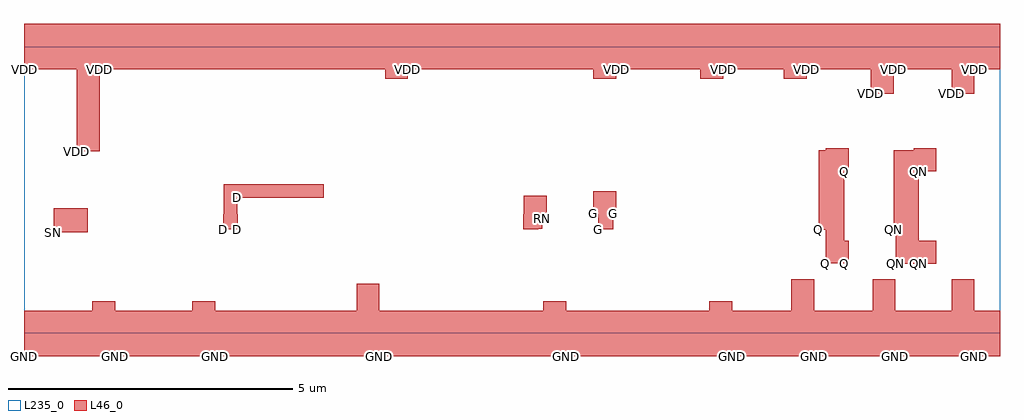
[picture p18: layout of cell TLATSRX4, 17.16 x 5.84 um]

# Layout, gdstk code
import gdstk
lib = gdstk.Library(unit=1e-6, precision=1e-09)
def R(c, l, rs):  # rectangles x0, y0, x1, y1
    for r in rs: c.add(gdstk.rectangle(r[:2], r[2:], *l))
L46_0 = (46, 0)
L235_0 = (235, 0)

tlatsrx4 = lib.new_cell('TLATSRX4')
R(tlatsrx4, L46_0, [(0,-0.4,1.2,0.4), (1.2,-0.4,1.6,0.56), (1.6,-0.4,2.96,0.4), (2.96,-0.4,3.36,0.56), (3.36,-0.4,5.85,0.4), (5.85,-0.4,6.25,0.87), (6.25,-0.4,9.13,0.4), (9.13,-0.4,9.53,0.56), (9.53,-0.4,12.05,0.4), (12.05,-0.4,12.45,0.56), (12.45,-0.4,13.49,0.4), (13.49,-0.4,13.89,0.95), (13.89,-0.4,14.92,0.4), (14.92,-0.4,15.32,0.95), (15.32,-0.4,16.31,0.4), (16.31,-0.4,16.71,0.95), (16.71,-0.4,17.16,0.4), (15.33,1.22,15.64,3.22), (15.64,1.22,15.73,3.25), (15.73,1.22,16.04,1.63), (14.1,1.23,14.42,3.25), (14.42,1.23,14.5,1.63), (0.52,1.78,1.12,2.2), (13.97,1.82,14.1,3.22), (15.29,1.82,15.33,3.22), (3.5,1.83,3.51,2.09), (3.51,1.83,3.75,2.62), (3.75,1.83,3.76,2.09), (8.78,1.83,8.79,2.09), (8.79,1.83,9.04,2.42), (10.1,1.83,10.36,2.5), (9.04,1.84,9.11,2.42), (9.11,2.02,9.19,2.42), (10.01,2.1,10.1,2.5), (10.36,2.1,10.41,2.5), (3.75,2.38,5.27,2.62), (14.42,2.85,14.5,3.25), (15.73,2.85,16.04,3.25), (0.93,3.2,1.33,5.44), (14.89,4.21,15.29,5.44), (16.31,4.21,16.71,5.44), (6.35,4.48,6.75,5.44), (10.01,4.48,10.41,5.44), (11.89,4.48,12.29,5.44), (13.36,4.48,13.76,5.44), (0,4.64,0.93,5.44), (1.33,4.64,6.35,5.44), (6.75,4.64,10.01,5.44), (10.41,4.64,11.89,5.44), (12.29,4.64,13.36,5.44), (13.76,4.64,14.89,5.44), (15.29,4.64,16.31,5.44), (16.71,4.64,17.16,5.44)])
R(tlatsrx4, L235_0, [(0,0,17.16,5.04)])
tlatsrx4.add(gdstk.Label('SN', (0.52,1.78), layer=101, texttype=0))
tlatsrx4.add(gdstk.Label('RN', (9.11,2.02), layer=101, texttype=0))
tlatsrx4.add(gdstk.Label('RN', (9.04,1.84), layer=101, texttype=0))
tlatsrx4.add(gdstk.Label('RN', (8.79,1.83), layer=101, texttype=0))
tlatsrx4.add(gdstk.Label('RN', (8.78,1.83), layer=101, texttype=0))
tlatsrx4.add(gdstk.Label('QN', (15.73,1.22), layer=101, texttype=0))
tlatsrx4.add(gdstk.Label('QN', (15.73,2.85), layer=101, texttype=0))
tlatsrx4.add(gdstk.Label('QN', (15.64,1.22), layer=101, texttype=0))
tlatsrx4.add(gdstk.Label('QN', (15.33,1.22), layer=101, texttype=0))
tlatsrx4.add(gdstk.Label('QN', (15.29,1.82), layer=101, texttype=0))
tlatsrx4.add(gdstk.Label('Q', (14.42,1.23), layer=101, texttype=0))
tlatsrx4.add(gdstk.Label('Q', (14.42,2.85), layer=101, texttype=0))
tlatsrx4.add(gdstk.Label('Q', (14.1,1.23), layer=101, texttype=0))
tlatsrx4.add(gdstk.Label('Q', (13.97,1.82), layer=101, texttype=0))
tlatsrx4.add(gdstk.Label('G', (10.36,2.1), layer=101, texttype=0))
tlatsrx4.add(gdstk.Label('G', (10.1,1.83), layer=101, texttype=0))
tlatsrx4.add(gdstk.Label('G', (10.01,2.1), layer=101, texttype=0))
tlatsrx4.add(gdstk.Label('D', (3.75,2.38), layer=101, texttype=0))
tlatsrx4.add(gdstk.Label('D', (3.75,1.83), layer=101, texttype=0))
tlatsrx4.add(gdstk.Label('D', (3.51,1.83), layer=101, texttype=0))
tlatsrx4.add(gdstk.Label('D', (3.5,1.83), layer=101, texttype=0))
tlatsrx4.add(gdstk.Label('VDD', (16.71,4.64), layer=101, texttype=0))
tlatsrx4.add(gdstk.Label('VDD', (16.31,4.21), layer=101, texttype=0))
tlatsrx4.add(gdstk.Label('VDD', (15.29,4.64), layer=101, texttype=0))
tlatsrx4.add(gdstk.Label('VDD', (14.89,4.21), layer=101, texttype=0))
tlatsrx4.add(gdstk.Label('VDD', (13.76,4.64), layer=101, texttype=0))
tlatsrx4.add(gdstk.Label('VDD', (13.36,4.48), layer=101, texttype=0))
tlatsrx4.add(gdstk.Label('VDD', (12.29,4.64), layer=101, texttype=0))
tlatsrx4.add(gdstk.Label('VDD', (11.89,4.48), layer=101, texttype=0))
tlatsrx4.add(gdstk.Label('VDD', (10.41,4.64), layer=101, texttype=0))
tlatsrx4.add(gdstk.Label('VDD', (10.01,4.48), layer=101, texttype=0))
tlatsrx4.add(gdstk.Label('VDD', (6.75,4.64), layer=101, texttype=0))
tlatsrx4.add(gdstk.Label('VDD', (6.35,4.48), layer=101, texttype=0))
tlatsrx4.add(gdstk.Label('VDD', (1.33,4.64), layer=101, texttype=0))
tlatsrx4.add(gdstk.Label('VDD', (0.93,3.2), layer=101, texttype=0))
tlatsrx4.add(gdstk.Label('VDD', (0,4.64), layer=101, texttype=0))
tlatsrx4.add(gdstk.Label('GND', (16.71,-0.4), layer=101, texttype=0))
tlatsrx4.add(gdstk.Label('GND', (16.31,-0.4), layer=101, texttype=0))
tlatsrx4.add(gdstk.Label('GND', (15.32,-0.4), layer=101, texttype=0))
tlatsrx4.add(gdstk.Label('GND', (14.92,-0.4), layer=101, texttype=0))
tlatsrx4.add(gdstk.Label('GND', (13.89,-0.4), layer=101, texttype=0))
tlatsrx4.add(gdstk.Label('GND', (13.49,-0.4), layer=101, texttype=0))
tlatsrx4.add(gdstk.Label('GND', (12.45,-0.4), layer=101, texttype=0))
tlatsrx4.add(gdstk.Label('GND', (12.05,-0.4), layer=101, texttype=0))
tlatsrx4.add(gdstk.Label('GND', (9.53,-0.4), layer=101, texttype=0))
tlatsrx4.add(gdstk.Label('GND', (9.13,-0.4), layer=101, texttype=0))
tlatsrx4.add(gdstk.Label('GND', (6.25,-0.4), layer=101, texttype=0))
tlatsrx4.add(gdstk.Label('GND', (5.85,-0.4), layer=101, texttype=0))
tlatsrx4.add(gdstk.Label('GND', (3.36,-0.4), layer=101, texttype=0))
tlatsrx4.add(gdstk.Label('GND', (2.96,-0.4), layer=101, texttype=0))
tlatsrx4.add(gdstk.Label('GND', (1.6,-0.4), layer=101, texttype=0))
tlatsrx4.add(gdstk.Label('GND', (1.2,-0.4), layer=101, texttype=0))
tlatsrx4.add(gdstk.Label('GND', (0,-0.4), layer=101, texttype=0))

lib.write_gds('TLATSRX4.gds')
